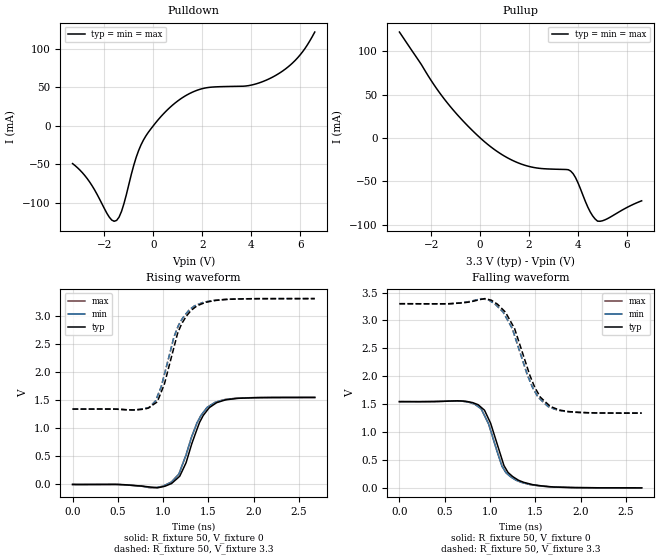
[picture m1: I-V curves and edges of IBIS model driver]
| IBIS file ex2_fast_5ps_tr50ps.ibs created by PYS2IBIS3
| Missouri S&T EMC Lab
[IBIS Ver] 7.1
[File Name] ex2_fast_5ps_tr50ps.ibs
[File Rev] 1.0
[Date] July 28, 2026
[Source] ex2 buffer.sp characterized with s2ibispy and HSPICE
[Notes] Parameter selection; sim_time=2.673e-09, tr=tf=5.000e-11.
[Disclaimer] Experimental characterization for pybis observability study.
[Component] MCM Driver 1
[Manufacturer] MegaFLOPS Inc.
[Package]
| variable   typ   min   max
R_pkg 0 NA NA
L_pkg 0H NA NA
C_pkg 0F NA NA
[Pin]  signal_name   model_name   R_pin   L_pin   C_pin
vdd   vdd   POWER
gnd   gnd   GND
| in in dummy
out   out   driver
| End of Component
| Models and submodels in the file (1): driver (Output)
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[Model] driver
Model_type Output
Polarity Non-Inverting
Enable Active-Low
Vinl  = 0.8V
Vinh  = 2V
C_comp 5.0000pF 5.0000pF 5.0000pF
[Temperature Range] 27.0000 27.0000 27.0000
[Voltage Range] 3.3000V 3.3000V 3.3000V
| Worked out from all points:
|   slope of the pulldown table from 0 to 0.495 V, typ, clamps not added: 27.4 ohm
|   slope of the pullup table from 0 to 0.495 V, typ, clamps not added: 42.7 ohm
|   rising waveform, R_fixture 50, V_fixture 0: 20-80 % time 217ps typ, 220ps min, 220ps max; typ from 0 V to 1.54 V
|   rising waveform, R_fixture 50, V_fixture 3.3: 20-80 % time 223ps typ, 220ps min, 220ps max; typ from 1.34 V to 3.3 V
|   falling waveform, R_fixture 50, V_fixture 0: 20-80 % time 202ps typ, 205ps min, 205ps max; typ from 1.54 V to 0 V
|   falling waveform, R_fixture 50, V_fixture 3.3: 20-80 % time 265ps typ, 265ps min, 265ps max; typ from 3.3 V to 1.34 V
[Pulldown]
| Voltage   I(typ)   I(min)   I(max)
-3.3V     -48.93mA   -48.93mA   -48.93mA
-2.6V     -72.86mA   -72.86mA   -72.86mA
-1.8V     -118.2mA   -118.2mA   -118.2mA
-1.5V     -122.5mA   -122.5mA   -122.5mA
-1.3V     -110.9mA   -110.9mA   -110.9mA
-500mV    -24.59mA   -24.59mA   -24.59mA
600mV     21.34mA    21.34mA    21.34mA
1.9V      47.12mA    47.12mA    47.12mA
3.9V      51.99mA    51.99mA    51.99mA
4.9V      63.38mA    63.38mA    63.38mA
5.9V      87.99mA    87.99mA    87.99mA
6.6V      121.3mA    121.3mA    121.3mA
[Pullup]
| Voltage   I(typ)   I(min)   I(max)
-3.3V     122mA      122mA      122mA
-1.9V     61.75mA    61.75mA    61.75mA
-1.3V     38.86mA    38.86mA    38.86mA
-200mV    5.278mA    5.278mA    5.278mA
700mV     -15.75mA   -15.75mA   -15.75mA
2V        -32.92mA   -32.92mA   -32.92mA
3.7V      -38.24mA   -38.24mA   -38.24mA
3.9V      -45.89mA   -45.89mA   -45.89mA
4.5V      -85.43mA   -85.43mA   -85.43mA
4.8V      -95.97mA   -95.97mA   -95.97mA
5.1V      -94.48mA   -94.48mA   -94.48mA
6.6V      -72.53mA   -72.53mA   -72.53mA
[Ramp]
| variable   typ   min   max
dV/dt_r 0.9270/0.2169n 0.9270/0.2195n 0.9270/0.2195n
dV/dt_f 1.1766/0.2646n 1.1766/0.2652n 1.1766/0.2652n
R_load = 50
[Rising Waveform]
R_fixture = 50
V_fixture = 0
|time   V(typ)   V(min)   V(max)
0s        7.302nV    7.302nV    7.302nV
1.017ns   -33.03mV   -15.04mV   -15.04mV
1.092ns   15.96mV    43.8mV     43.8mV
1.183ns   146.7mV    223.4mV    223.4mV
1.252ns   384.2mV    523.3mV    523.3mV
1.372ns   977.8mV    1.091V     1.091V
1.442ns   1.225V     1.277V     1.277V
1.57ns    1.431V     1.457V     1.457V
1.822ns   1.529V     1.531V     1.531V
2.673ns   1.545V     1.545V     1.545V
[Rising Waveform]
R_fixture = 50
V_fixture = 3.3
|time   V(typ)   V(min)   V(max)
0s        1.338V     1.338V     1.338V
848.1ps   1.371V     1.37V      1.37V
917.6ps   1.448V     1.492V     1.492V
1.011ns   1.773V     1.936V     1.936V
1.118ns   2.44V      2.616V     2.616V
1.166ns   2.711V     2.818V     2.818V
1.244ns   2.964V     3.013V     3.013V
1.346ns   3.139V     3.171V     3.171V
1.675ns   3.283V     3.285V     3.285V
2.673ns   3.3V       3.3V       3.3V
[Falling Waveform]
R_fixture = 50
V_fixture = 0
|time   V(typ)   V(min)   V(max)
0s        1.545V     1.545V     1.545V
687.6ps   1.556V     1.555V     1.555V
869.5ps   1.489V     1.454V     1.454V
939ps     1.39V      1.294V     1.294V
1.006ns   1.159V     1.027V     1.027V
1.129ns   516.9mV    394.7mV    394.7mV
1.198ns   275.5mV    237.2mV    237.2mV
1.34ns    118mV      101mV      101mV
1.691ns   15.3mV     13.91mV    13.91mV
2.673ns   92.24uV    78.21uV    78.21uV
[Falling Waveform]
R_fixture = 50
V_fixture = 3.3
|time   V(typ)   V(min)   V(max)
0s        3.3V       3.3V       3.3V
901.6ps   3.378V     3.39V      3.39V
1.009ns   3.368V     3.342V     3.342V
1.145ns   3.189V     3.147V     3.147V
1.268ns   2.863V     2.741V     2.741V
1.466ns   1.908V     1.808V     1.808V
1.552ns   1.632V     1.591V     1.591V
1.637ns   1.499V     1.461V     1.461V
1.929ns   1.357V     1.355V     1.355V
2.673ns   1.339V     1.339V     1.339V
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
